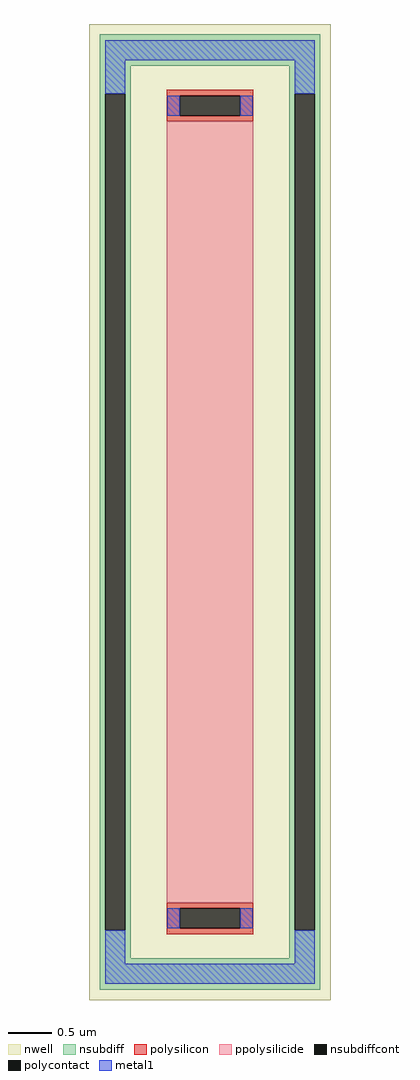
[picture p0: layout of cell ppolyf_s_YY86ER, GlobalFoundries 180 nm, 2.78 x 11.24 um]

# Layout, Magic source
magic
tech gf180mcuD
magscale 1 10
<< nwell >>
rect -278 -1124 278 1124
<< nsubdiff >>
rect -254 1028 254 1100
rect -254 963 -182 1028
rect -254 -963 -241 963
rect -195 -963 -182 963
rect -254 -1028 -182 -963
rect 182 963 254 1028
rect 182 -963 195 963
rect 241 -963 254 963
rect 182 -1028 254 -963
rect -254 -1100 254 -1028
<< nsubdiffcont >>
rect -241 -963 -195 963
rect 195 -963 241 963
<< polysilicon >>
rect -100 959 100 972
rect -100 913 -70 959
rect 70 913 100 959
rect -100 900 100 913
rect -100 -913 100 -900
rect -100 -959 -70 -913
rect 70 -959 100 -913
rect -100 -972 100 -959
<< polycontact >>
rect -70 913 70 959
rect -70 -959 70 -913
<< ppolysilicide >>
rect -100 -900 100 900
<< metal1 >>
rect -241 1041 241 1087
rect -241 963 -195 1041
rect 195 963 241 1041
rect -98 913 -70 959
rect 70 913 98 959
rect -98 -959 -70 -913
rect 70 -959 98 -913
rect -241 -1041 -195 -963
rect 195 -1041 241 -963
rect -241 -1087 241 -1041
<< properties >>
string FIXED_BBOX -218 -1064 218 1064
<< end >>
